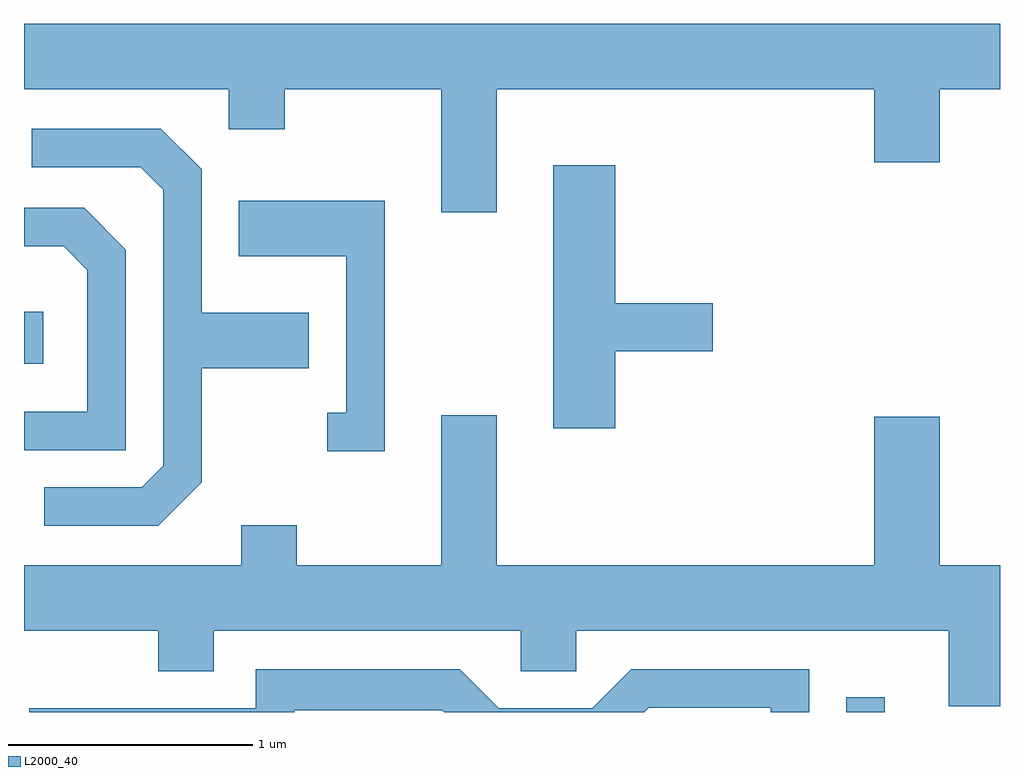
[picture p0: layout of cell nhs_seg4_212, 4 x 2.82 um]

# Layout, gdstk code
import gdstk
lib = gdstk.Library(unit=1e-6, precision=1e-09)
def R(c, l, rs):  # rectangles x0, y0, x1, y1
    for r in rs: c.add(gdstk.rectangle(r[:2], r[2:], *l))
def P(c, l, *ps):  # polygons
    for p in ps: c.add(gdstk.Polygon(p, *l))
L2000_40 = (2000, 40)

nhs_seg4_212 = lib.new_cell('nhs_seg4_212')
R(nhs_seg4_212, L2000_40, [(194.981,1269.982,195.139,1270.043), (191.611,1271.411,191.689,1271.624)])
P(nhs_seg4_212, L2000_40, [(193.549,1272.536),(195.096,1272.536),(195.096,1272.236),(195.364,1272.236),(195.364,1272.536),(195.611,1272.536),(195.611,1272.804),(191.611,1272.804),(191.611,1272.536),(192.451,1272.536),(192.451,1272.371),(192.679,1272.371),(192.679,1272.536),(193.321,1272.536),(193.321,1272.031),(193.549,1272.031)],
  [(192.339,1270.924),(192.339,1271.391),(192.779,1271.391),(192.779,1271.619),(192.339,1271.619),(192.339,1272.207),(192.172,1272.374),(191.643,1272.374),(191.643,1272.216),(192.089,1272.216),(192.181,1272.124),(192.181,1270.992),(192.094,1270.904),(191.693,1270.904),(191.693,1270.746),(192.162,1270.746)],
  [(194.034,1271.461),(194.434,1271.461),(194.434,1271.659),(194.034,1271.659),(194.034,1272.224),(193.781,1272.224),(193.781,1271.146),(194.034,1271.146)],
  [(193.089,1272.079),(192.491,1272.079),(192.491,1271.851),(192.931,1271.851),(192.931,1271.209),(192.853,1271.209),(192.853,1271.051),(193.089,1271.051)],
  [(192.029,1271.877),(191.857,1272.049),(191.611,1272.049),(191.611,1271.891),(191.774,1271.891),(191.871,1271.794),(191.871,1271.214),(191.611,1271.214),(191.611,1271.056),(192.029,1271.056)],
  [(195.611,1270.584),(195.364,1270.584),(195.364,1271.194),(195.096,1271.194),(195.096,1270.584),(193.549,1270.584),(193.549,1271.199),(193.321,1271.199),(193.321,1270.584),(192.729,1270.584),(192.729,1270.749),(192.501,1270.749),(192.501,1270.584),(191.611,1270.584),(191.611,1270.316),(192.161,1270.316),(192.161,1270.151),(192.389,1270.151),(192.389,1270.316),(193.646,1270.316),(193.646,1270.151),(193.874,1270.151),(193.874,1270.316),(195.401,1270.316),(195.401,1270.006),(195.611,1270.006)],
  [(192.719,1269.991),(193.324,1269.991),(193.333,1269.982),(194.153,1269.982),(194.172,1270.001),(194.671,1270.001),(194.671,1269.982),(194.829,1269.982),(194.829,1270.159),(194.099,1270.159),(193.939,1269.999),(193.557,1269.999),(193.397,1270.159),(192.561,1270.159),(192.561,1269.999),(191.633,1269.999),(191.633,1269.982),(192.719,1269.982)])

lib.write_gds('nhs_seg4_212.gds')
